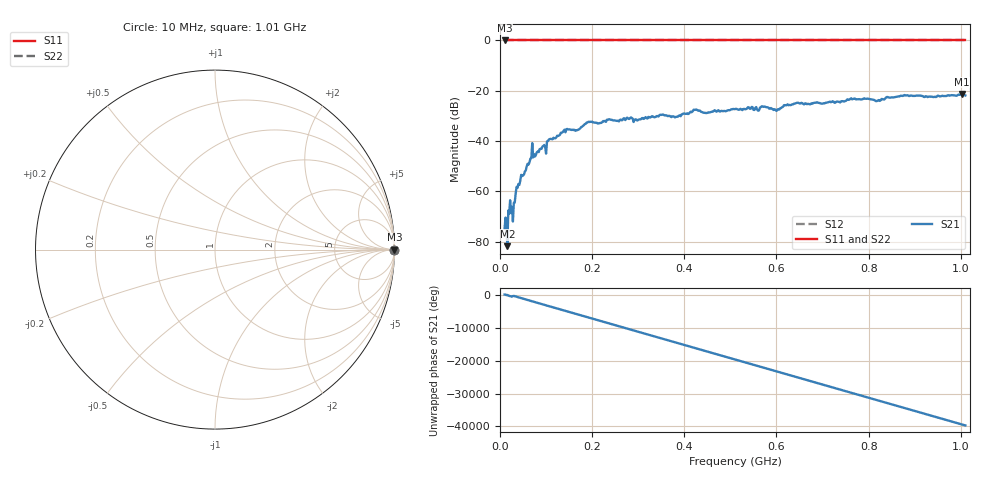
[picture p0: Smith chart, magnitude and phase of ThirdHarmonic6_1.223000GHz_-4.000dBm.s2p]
! 8/16/2025 12:50:36 PM
! C:\ANRITSUVNA\TEMP\TEMP.S2P
! CHANNEL.1
! TR.MEASUREMENT
! RAW.DATA
! RF.CORRECTION.OFF
! AVERAGING.OFF
! IF.BANDWIDTH: 5KHZ
! SWEEPTYPE:  FREQ.SWEEP(Linear)
! Reference Plane Port Info
! PORT:  PORT1  PORT2
! DISTANCE:  0  m  0  m
! TIME:  0  s  0  s
! PHASE.OFFSET:  0  deg.  0  deg.
! LOSS:  0  dB  0  dB
! REF.LOSS:  0  dB  0  dB
! REF.FREQ:  0  Hz  0  Hz
! Power Info
! POWER:  -20  dBm  -20  dBm
! EFF.POWER:  -20  dBm  -20  dBm
! SOURCE.ATTEN:  0  dB  0  dB
! TEST.ATTEN:  0  dB  0  dB
# GHZ S RI R 50.0
! FREQ.GHZ  S11RE  S11IM  S21RE  S21IM  S12RE  S12IM  S22RE  S22IM
!; PortSelection: Port_12
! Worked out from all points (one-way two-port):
!   501 points, 10 MHz to 1.01 GHz, reference 50 ohm
!   highest |S21| = -21.21 dB at 1.002 GHz (marker M1); lowest = -81.7 dB at 16 MHz (marker M2)
!   lowest |S11| = 0.0 dB at 10 MHz (marker M3)
!   |S11| at or under -10 dB: nowhere
!   |S22| runs from 0.0 to 0.0 dB; largest |S21 - S12| = 1.1
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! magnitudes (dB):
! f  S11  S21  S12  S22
! 10 MHz  0.0  -74.7  0.0  0.0
! 12 MHz  0.0  -70.4  0.0  0.0
! 16 MHz  0.0  -81.7  0.0  0.0
! 22 MHz  0.0  -63.5  0.0  0.0
! 28 MHz  0.0  -71.9  0.0  0.0
! 40 MHz  0.0  -57.0  0.0  0.0
! 70 MHz  0.0  -40.8  0.0  0.0
! 76 MHz  0.0  -46.1  0.0  0.0
! 106 MHz  0.0  -39.4  0.0  0.0
! 136 MHz  0.0  -36.5  0.0  0.0
! 178 MHz  0.0  -34.3  0.0  0.0
! 196 MHz  0.0  -32.3  0.0  0.0
! 344 MHz  0.0  -30.2  0.0  0.0
! 382 MHz  0.0  -30.3  0.0  0.0
! 510 MHz  0.0  -27.3  0.0  0.0
! 572 MHz  0.0  -26.4  0.0  0.0
! 602 MHz  0.0  -27.5  0.0  0.0
! 620 MHz  0.0  -25.7  0.0  0.0
! 678 MHz  0.0  -25.1  0.0  0.0
! 844 MHz  0.0  -22.7  0.0  0.0
! 1.002 GHz  0.0  -21.2  0.0  0.0
! 1.01 GHz  0.0  -21.9  0.0  0.0
